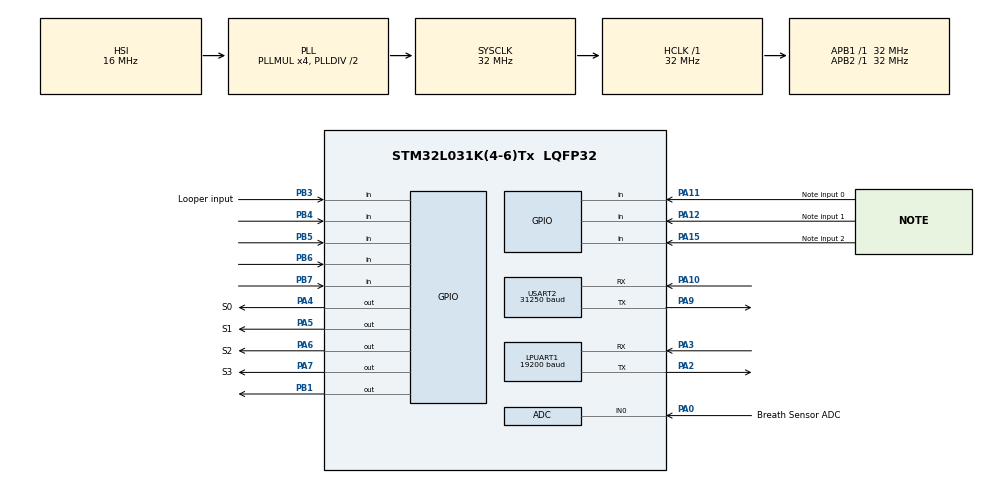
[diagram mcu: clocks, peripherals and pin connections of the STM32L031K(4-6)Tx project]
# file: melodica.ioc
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ADC.ContinuousConvMode=DISABLE
ADC.DMAContinuousRequests=ENABLE
ADC.DiscontinuousConvMode=ENABLE
ADC.ExternalTrigConv=ADC_EXTERNALTRIGCONV_T2_TRGO
ADC.Resolution=ADC_RESOLUTION_12B
Dma.ADC.0.Direction=DMA_PERIPH_TO_MEMORY
Dma.ADC.0.Instance=DMA1_Channel1
Dma.ADC.0.MemDataAlignment=DMA_MDATAALIGN_HALFWORD
Dma.ADC.0.MemInc=DMA_MINC_ENABLE
Dma.ADC.0.Mode=DMA_CIRCULAR
Dma.ADC.0.PeriphDataAlignment=DMA_PDATAALIGN_HALFWORD
Dma.ADC.0.PeriphInc=DMA_PINC_DISABLE
Dma.ADC.0.Priority=DMA_PRIORITY_LOW
Dma.Request0=ADC
LPUART1.BaudRate=19200
LPUART1.WordLength=UART_WORDLENGTH_8B
Mcu.Family=STM32L0
Mcu.Name=STM32L031K(4-6)Tx
Mcu.Package=LQFP32
NVIC.DMA1_Channel1_IRQn=true\:0\:0\:false\:false\:true\:false\:true\:true
NVIC.USART2_IRQn=true\:0\:0\:false\:false\:true\:true\:true\:true
PA0-CK_IN.GPIO_Label=Breath Sensor ADC
PA0-CK_IN.Mode=IN0
PA0-CK_IN.Signal=ADC_IN0
PA10.Mode=Asynchronous
PA10.Signal=USART2_RX
PA11.GPIO_Label=Note input 0
PA11.GPIO_PuPd=GPIO_PULLDOWN
PA11.Signal=GPIO_Input
PA12.GPIO_Label=Note input 1
PA12.GPIO_PuPd=GPIO_PULLDOWN
PA12.Signal=GPIO_Input
PA13.Mode=Serial_Wire
PA13.Signal=SYS_SWDIO
PA14.Mode=Serial_Wire
PA14.Signal=SYS_SWCLK
PA15.GPIO_Label=Note input 2
PA15.GPIO_PuPd=GPIO_PULLDOWN
PA15.Signal=GPIO_Input
PA2.Mode=Asynchronous
PA2.Signal=LPUART1_TX
PA3.Mode=Asynchronous
PA3.Signal=LPUART1_RX
PA4.GPIO_Label=S0
PA4.Signal=GPIO_Output
PA5.GPIO_Label=S1
PA5.Signal=GPIO_Output
PA6.GPIO_Label=S2
PA6.Signal=GPIO_Output
PA7.GPIO_Label=S3
PA7.Signal=GPIO_Output
PA9.Mode=Asynchronous
PA9.Signal=USART2_TX
PB1.PinState=GPIO_PIN_RESET
PB1.Signal=GPIO_Output
PB3.GPIO_Label=Looper input
PB3.GPIO_PuPd=GPIO_PULLDOWN
PB3.Signal=GPIO_Input
PB4.GPIO_PuPd=GPIO_PULLDOWN
PB4.Signal=GPIO_Input
PB5.GPIO_PuPd=GPIO_PULLDOWN
PB5.Signal=GPIO_Input
PB6.GPIO_PuPd=GPIO_PULLDOWN
PB6.Signal=GPIO_Input
PB7.GPIO_PuPd=GPIO_PULLDOWN
PB7.Signal=GPIO_Input
ProjectManager.HeapSize=0x200
ProjectManager.StackSize=0x400
ProjectManager.TargetToolchain=STM32CubeIDE
RCC.AHBFreq_Value=32000000
RCC.APB1Freq_Value=32000000
RCC.APB1TimFreq_Value=32000000
RCC.APB2Freq_Value=32000000
RCC.APB2TimFreq_Value=32000000
RCC.HCLKFreq_Value=32000000
RCC.HSE_VALUE=8000000
RCC.HSI16_VALUE=16000000
RCC.HSI_VALUE=16000000
RCC.LSE_VALUE=32768
RCC.MSI_VALUE=2097000
RCC.PLLMUL=RCC_PLLMUL_4
RCC.SYSCLKFreq_VALUE=32000000
RCC.SYSCLKSource=RCC_SYSCLKSOURCE_PLLCLK
RCC.VCOOutputFreq_Value=64000000
TIM2.Period=10 - 1
TIM2.Prescaler=3200-1
TIM2.TIM_MasterOutputTrigger=TIM_TRGO_UPDATE
TIM2.TIM_MasterSlaveMode=TIM_MASTERSLAVEMODE_DISABLE
TIM21.Period=6
TIM21.Prescaler=3200-1
TIM21.TIM_MasterOutputTrigger=TIM_TRGO_UPDATE
USART2.BaudRate=31250
USART2.VirtualMode-Asynchronous=VM_ASYNC
VP_TIM21_VS_ClockSourceINT.Mode=Internal
VP_TIM2_VS_ClockSourceINT.Mode=Internal
board=custom

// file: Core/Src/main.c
/* USER CODE BEGIN Header */
/**
  ******************************************************************************
  * @file           : main.c
  * @brief          : Main program body
  ******************************************************************************
  * @attention
  *
  * Copyright (c) 2025 STMicroelectronics.
  * All rights reserved.
  *
  * This software is licensed under terms that can be found in the LICENSE file
  * in the root directory of this software component.
  * If no LICENSE file comes with this software, it is provided AS-IS.
  *
  ******************************************************************************
  */
/* USER CODE END Header */
#include "main.h"

/* USER CODE BEGIN Includes */
#include "midi.h"
#include "mux.h"
#include "adc.h"
#include "looper.h"
#include <stdio.h>
#include <stdlib.h>

/* USER CODE END Includes */

ADC_HandleTypeDef hadc;
DMA_HandleTypeDef hdma_adc;

UART_HandleTypeDef hlpuart1;
UART_HandleTypeDef huart2;

TIM_HandleTypeDef htim2;
TIM_HandleTypeDef htim21;

void SystemClock_Config(void);
static void MX_GPIO_Init(void);
static void MX_DMA_Init(void);
static void MX_USART2_UART_Init(void);
static void MX_TIM2_Init(void);
static void MX_ADC_Init(void);
static void MX_LPUART1_UART_Init(void);
static void MX_TIM21_Init(void);

/* USER CODE BEGIN 0 */

volatile uint16_t adc_reg;	// Register for holding adc value
uint16_t adc_exp_reg = 0;		// Holds previous output of exponential filter
uint8_t adc_conv_complete_flag = 0;

/* USER CODE END 0 */

int main(void)
{

  /* MCU Configuration--------------------------------------------------------*/

  /* Reset of all peripherals, Initializes the Flash interface and the Systick. */
  HAL_Init();

  /* Configure the system clock */
  SystemClock_Config();

  /* Initialize all configured peripherals */
  MX_GPIO_Init();
  MX_DMA_Init();
  MX_USART2_UART_Init();
  MX_TIM2_Init();
  MX_ADC_Init();
  MX_LPUART1_UART_Init();
  MX_TIM21_Init();
  /* USER CODE BEGIN 2 */

  HAL_GPIO_WritePin(GPIOB, GPIO_PIN_1, 1);
  HAL_ADCEx_Calibration_Start(&hadc, ADC_SINGLE_ENDED);
  HAL_ADC_Start_DMA(&hadc, (uint32_t*) &adc_reg, 1);
  /* USER CODE END 2 */

  /* Infinite loop */
  /* USER CODE BEGIN WHILE */

  HAL_TIM_Base_Start(&htim2);
  HAL_TIM_Base_Start(&htim21);
  MIDI_Init();

  note_debouncer_init();

  uint8_t notes[48];
  uint8_t pressure = 0;

  uint16_t breath_threshold;
  uint8_t BREATH_THRESHOLD_SET = 0;
  int16_t last_sent_pressure = 0;

  //char adc_string[50];
  while (1)
  {
	  ReadKeyboard(notes, pressure > 0);

	  if (adc_conv_complete_flag == 1) {
		  if (!BREATH_THRESHOLD_SET) {
			  BREATH_THRESHOLD_SET = 1;
			  breath_threshold = adc_reg + 10;
		  }
		  uint16_t filtered_adc = exponential_filter(adc_reg, adc_exp_reg, 800);
		  pressure = remap(filtered_adc, breath_threshold, 1, 5);
		  int16_t difference = last_sent_pressure - pressure;
		  if (difference < -3 || difference > 3) {
			  channel_pressure(0, pressure);
			  last_sent_pressure = pressure;
		  }
		  adc_conv_complete_flag = 0;
	  }
	  if (__HAL_TIM_GET_FLAG(&htim21, TIM_FLAG_UPDATE)) {
	  __HAL_TIM_CLEAR_FLAG(&htim21, TIM_FLAG_UPDATE);
	  	  button_tick();
	  	  tick_buttons();
	  }
	  //looper_tick();

    /* USER CODE END WHILE */

  }
}

void SystemClock_Config(void)
{
  RCC_OscInitTypeDef RCC_OscInitStruct = {0};
  RCC_ClkInitTypeDef RCC_ClkInitStruct = {0};
  RCC_PeriphCLKInitTypeDef PeriphClkInit = {0};

  /** Configure the main internal regulator output voltage
  */
  __HAL_PWR_VOLTAGESCALING_CONFIG(PWR_REGULATOR_VOLTAGE_SCALE1);

  /** Initializes the RCC Oscillators according to the specified parameters
  * in the RCC_OscInitTypeDef structure.
  */
  RCC_OscInitStruct.OscillatorType = RCC_OSCILLATORTYPE_HSI;
  RCC_OscInitStruct.HSIState = RCC_HSI_ON;
  RCC_OscInitStruct.HSICalibrationValue = RCC_HSICALIBRATION_DEFAULT;
  RCC_OscInitStruct.PLL.PLLState = RCC_PLL_ON;
  RCC_OscInitStruct.PLL.PLLSource = RCC_PLLSOURCE_HSI;
  RCC_OscInitStruct.PLL.PLLMUL = RCC_PLLMUL_4;
  RCC_OscInitStruct.PLL.PLLDIV = RCC_PLLDIV_2;
  if (HAL_RCC_OscConfig(&RCC_OscInitStruct) != HAL_OK)
  {
    Error_Handler();
  }

  /** Initializes the CPU, AHB and APB buses clocks
  */
  RCC_ClkInitStruct.ClockType = RCC_CLOCKTYPE_HCLK|RCC_CLOCKTYPE_SYSCLK
                              |RCC_CLOCKTYPE_PCLK1|RCC_CLOCKTYPE_PCLK2;
  RCC_ClkInitStruct.SYSCLKSource = RCC_SYSCLKSOURCE_PLLCLK;
  RCC_ClkInitStruct.AHBCLKDivider = RCC_SYSCLK_DIV1;
  RCC_ClkInitStruct.APB1CLKDivider = RCC_HCLK_DIV1;
  RCC_ClkInitStruct.APB2CLKDivider = RCC_HCLK_DIV1;

  if (HAL_RCC_ClockConfig(&RCC_ClkInitStruct, FLASH_LATENCY_1) != HAL_OK)
  {
    Error_Handler();
  }
  PeriphClkInit.PeriphClockSelection = RCC_PERIPHCLK_USART2|RCC_PERIPHCLK_LPUART1;
  PeriphClkInit.Usart2ClockSelection = RCC_USART2CLKSOURCE_PCLK1;
  PeriphClkInit.Lpuart1ClockSelection = RCC_LPUART1CLKSOURCE_PCLK1;
  if (HAL_RCCEx_PeriphCLKConfig(&PeriphClkInit) != HAL_OK)
  {
    Error_Handler();
  }
}

static void MX_ADC_Init(void)
{

  ADC_ChannelConfTypeDef sConfig = {0};

  /** Configure the global features of the ADC (Clock, Resolution, Data Alignment and number of conversion)
  */
  hadc.Instance = ADC1;
  hadc.Init.OversamplingMode = DISABLE;
  hadc.Init.ClockPrescaler = ADC_CLOCK_SYNC_PCLK_DIV2;
  hadc.Init.Resolution = ADC_RESOLUTION_12B;
  hadc.Init.SamplingTime = ADC_SAMPLETIME_1CYCLE_5;
  hadc.Init.ScanConvMode = ADC_SCAN_DIRECTION_FORWARD;
  hadc.Init.DataAlign = ADC_DATAALIGN_RIGHT;
  hadc.Init.ContinuousConvMode = DISABLE;
  hadc.Init.DiscontinuousConvMode = ENABLE;
  hadc.Init.ExternalTrigConvEdge = ADC_EXTERNALTRIGCONVEDGE_RISING;
  hadc.Init.ExternalTrigConv = ADC_EXTERNALTRIGCONV_T2_TRGO;
  hadc.Init.DMAContinuousRequests = ENABLE;
  hadc.Init.EOCSelection = ADC_EOC_SINGLE_CONV;
  hadc.Init.Overrun = ADC_OVR_DATA_PRESERVED;
  hadc.Init.LowPowerAutoWait = DISABLE;
  hadc.Init.LowPowerFrequencyMode = DISABLE;
  hadc.Init.LowPowerAutoPowerOff = DISABLE;
  if (HAL_ADC_Init(&hadc) != HAL_OK)
  {
    Error_Handler();
  }

  /** Configure for the selected ADC regular channel to be converted.
  */
  sConfig.Channel = ADC_CHANNEL_0;
  sConfig.Rank = ADC_RANK_CHANNEL_NUMBER;
  if (HAL_ADC_ConfigChannel(&hadc, &sConfig) != HAL_OK)
  {
    Error_Handler();
  }

}

static void MX_LPUART1_UART_Init(void)
{

  hlpuart1.Instance = LPUART1;
  hlpuart1.Init.BaudRate = 19200;
  hlpuart1.Init.WordLength = UART_WORDLENGTH_8B;
  hlpuart1.Init.StopBits = UART_STOPBITS_1;
  hlpuart1.Init.Parity = UART_PARITY_NONE;
  hlpuart1.Init.Mode = UART_MODE_TX_RX;
  hlpuart1.Init.HwFlowCtl = UART_HWCONTROL_NONE;
  hlpuart1.Init.OneBitSampling = UART_ONE_BIT_SAMPLE_DISABLE;
  hlpuart1.AdvancedInit.AdvFeatureInit = UART_ADVFEATURE_NO_INIT;
  if (HAL_UART_Init(&hlpuart1) != HAL_OK)
  {
    Error_Handler();
  }

}

static void MX_USART2_UART_Init(void)
{

  huart2.Instance = USART2;
  huart2.Init.BaudRate = 31250;
  huart2.Init.WordLength = UART_WORDLENGTH_8B;
  huart2.Init.StopBits = UART_STOPBITS_1;
  huart2.Init.Parity = UART_PARITY_NONE;
  huart2.Init.Mode = UART_MODE_TX_RX;
  huart2.Init.HwFlowCtl = UART_HWCONTROL_NONE;
  huart2.Init.OverSampling = UART_OVERSAMPLING_16;
  huart2.Init.OneBitSampling = UART_ONE_BIT_SAMPLE_DISABLE;
  huart2.AdvancedInit.AdvFeatureInit = UART_ADVFEATURE_NO_INIT;
  if (HAL_UART_Init(&huart2) != HAL_OK)
  {
    Error_Handler();
  }

}

static void MX_TIM2_Init(void)
{

  TIM_ClockConfigTypeDef sClockSourceConfig = {0};
  TIM_MasterConfigTypeDef sMasterConfig = {0};

  htim2.Instance = TIM2;
  htim2.Init.Prescaler = 3200-1;
  htim2.Init.CounterMode = TIM_COUNTERMODE_UP;
  htim2.Init.Period = 10 - 1;
  htim2.Init.ClockDivision = TIM_CLOCKDIVISION_DIV1;
  htim2.Init.AutoReloadPreload = TIM_AUTORELOAD_PRELOAD_DISABLE;
  if (HAL_TIM_Base_Init(&htim2) != HAL_OK)
  {
    Error_Handler();
  }
  sClockSourceConfig.ClockSource = TIM_CLOCKSOURCE_INTERNAL;
  if (HAL_TIM_ConfigClockSource(&htim2, &sClockSourceConfig) != HAL_OK)
  {
    Error_Handler();
  }
  sMasterConfig.MasterOutputTrigger = TIM_TRGO_UPDATE;
  sMasterConfig.MasterSlaveMode = TIM_MASTERSLAVEMODE_DISABLE;
  if (HAL_TIMEx_MasterConfigSynchronization(&htim2, &sMasterConfig) != HAL_OK)
  {
    Error_Handler();
  }

}

static void MX_TIM21_Init(void)
{

  TIM_ClockConfigTypeDef sClockSourceConfig = {0};
  TIM_MasterConfigTypeDef sMasterConfig = {0};

  htim21.Instance = TIM21;
  htim21.Init.Prescaler = 3200-1;
  htim21.Init.CounterMode = TIM_COUNTERMODE_UP;
  htim21.Init.Period = 6;
  htim21.Init.ClockDivision = TIM_CLOCKDIVISION_DIV1;
  htim21.Init.AutoReloadPreload = TIM_AUTORELOAD_PRELOAD_DISABLE;
  if (HAL_TIM_Base_Init(&htim21) != HAL_OK)
  {
    Error_Handler();
  }
  sClockSourceConfig.ClockSource = TIM_CLOCKSOURCE_INTERNAL;
  if (HAL_TIM_ConfigClockSource(&htim21, &sClockSourceConfig) != HAL_OK)
  {
    Error_Handler();
  }
  sMasterConfig.MasterOutputTrigger = TIM_TRGO_UPDATE;
  sMasterConfig.MasterSlaveMode = TIM_MASTERSLAVEMODE_DISABLE;
  if (HAL_TIMEx_MasterConfigSynchronization(&htim21, &sMasterConfig) != HAL_OK)
  {
    Error_Handler();
  }

}

static void MX_DMA_Init(void)
{

  /* DMA controller clock enable */
  __HAL_RCC_DMA1_CLK_ENABLE();

  /* DMA interrupt init */
  /* DMA1_Channel1_IRQn interrupt configuration */
  HAL_NVIC_SetPriority(DMA1_Channel1_IRQn, 0, 0);
  HAL_NVIC_EnableIRQ(DMA1_Channel1_IRQn);

}

static void MX_GPIO_Init(void)
{
  GPIO_InitTypeDef GPIO_InitStruct = {0};

  /* GPIO Ports Clock Enable */
  __HAL_RCC_GPIOA_CLK_ENABLE();
  __HAL_RCC_GPIOB_CLK_ENABLE();

  /*Configure GPIO pin Output Level */
  HAL_GPIO_WritePin(GPIOA, S0_Pin|S1_Pin|S2_Pin|S3_Pin, GPIO_PIN_RESET);

  /*Configure GPIO pin Output Level */
  HAL_GPIO_WritePin(GPIOB, GPIO_PIN_1, GPIO_PIN_RESET);

  /*Configure GPIO pins : S0_Pin S1_Pin S2_Pin S3_Pin */
  GPIO_InitStruct.Pin = S0_Pin|S1_Pin|S2_Pin|S3_Pin;
  GPIO_InitStruct.Mode = GPIO_MODE_OUTPUT_PP;
  GPIO_InitStruct.Pull = GPIO_NOPULL;
  GPIO_InitStruct.Speed = GPIO_SPEED_FREQ_LOW;
  HAL_GPIO_Init(GPIOA, &GPIO_InitStruct);

  /*Configure GPIO pin : PB1 */
  GPIO_InitStruct.Pin = GPIO_PIN_1;
  GPIO_InitStruct.Mode = GPIO_MODE_OUTPUT_PP;
  GPIO_InitStruct.Pull = GPIO_NOPULL;
  GPIO_InitStruct.Speed = GPIO_SPEED_FREQ_LOW;
  HAL_GPIO_Init(GPIOB, &GPIO_InitStruct);

  /*Configure GPIO pins : Note_input_0_Pin Note_input_1_Pin Note_input_2_Pin */
  GPIO_InitStruct.Pin = Note_input_0_Pin|Note_input_1_Pin|Note_input_2_Pin;
  GPIO_InitStruct.Mode = GPIO_MODE_INPUT;
  GPIO_InitStruct.Pull = GPIO_PULLDOWN;
  HAL_GPIO_Init(GPIOA, &GPIO_InitStruct);

  /*Configure GPIO pins : Looper_input_Pin PB4 PB5 PB6
                           PB7 */
  GPIO_InitStruct.Pin = Looper_input_Pin|GPIO_PIN_4|GPIO_PIN_5|GPIO_PIN_6
                          |GPIO_PIN_7;
  GPIO_InitStruct.Mode = GPIO_MODE_INPUT;
  GPIO_InitStruct.Pull = GPIO_PULLDOWN;
  HAL_GPIO_Init(GPIOB, &GPIO_InitStruct);

}

/* USER CODE BEGIN 4 */

void HAL_ADC_ConvCpltCallback(ADC_HandleTypeDef* hadc) {
	adc_conv_complete_flag = 1;
}

/* USER CODE END 4 */

void Error_Handler(void)
{
  __disable_irq();
  while (1)
  {
  }
}
